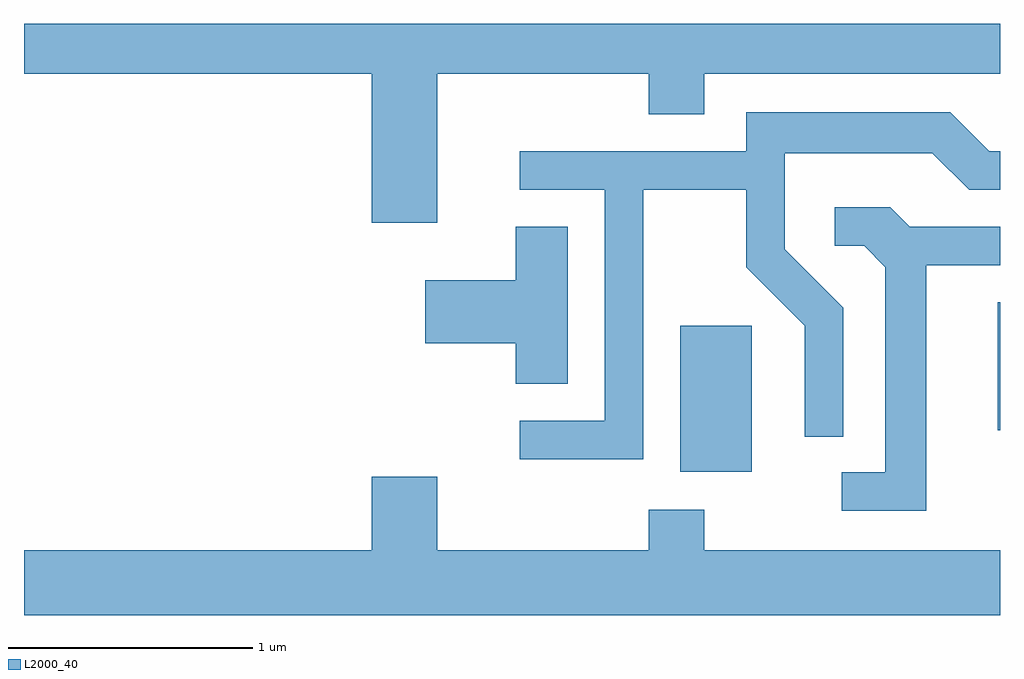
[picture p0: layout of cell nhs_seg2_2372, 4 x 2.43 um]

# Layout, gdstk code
import gdstk
lib = gdstk.Library(unit=1e-6, precision=1e-09)
def R(c, l, rs):  # rectangles x0, y0, x1, y1
    for r in rs: c.add(gdstk.rectangle(r[:2], r[2:], *l))
def P(c, l, *ps):  # polygons
    for p in ps: c.add(gdstk.Polygon(p, *l))
L2000_40 = (2000, 40)

nhs_seg2_2372 = lib.new_cell('nhs_seg2_2372')
R(nhs_seg2_2372, L2000_40, [(256.301,1099.966,256.594,1100.564), (257.601,1100.136,257.611,1100.659)])
P(nhs_seg2_2372, L2000_40, [(255.304,1101.596),(256.171,1101.596),(256.171,1101.431),(256.399,1101.431),(256.399,1101.596),(257.611,1101.596),(257.611,1101.802),(253.611,1101.802),(253.611,1101.596),(255.036,1101.596),(255.036,1100.986),(255.304,1100.986)],
  [(256.149,1101.121),(256.571,1101.121),(256.571,1100.804),(256.811,1100.564),(256.811,1100.108),(256.969,1100.108),(256.969,1100.637),(256.729,1100.877),(256.729,1101.271),(257.334,1101.271),(257.484,1101.121),(257.611,1101.121),(257.611,1101.279),(257.567,1101.279),(257.407,1101.439),(256.571,1101.439),(256.571,1101.279),(255.643,1101.279),(255.643,1101.121),(255.991,1101.121),(255.991,1100.174),(255.643,1100.174),(255.643,1100.016),(256.149,1100.016)],
  [(257.309,1100.811),(257.611,1100.811),(257.611,1100.969),(257.242,1100.969),(257.162,1101.049),(256.933,1101.049),(256.933,1100.891),(257.054,1100.891),(257.141,1100.804),(257.141,1099.964),(256.962,1099.964),(256.962,1099.806),(257.309,1099.806)],
  [(255.839,1100.969),(255.626,1100.969),(255.626,1100.749),(255.256,1100.749),(255.256,1100.491),(255.626,1100.491),(255.626,1100.326),(255.839,1100.326)],
  [(257.611,1099.644),(256.399,1099.644),(256.399,1099.809),(256.171,1099.809),(256.171,1099.644),(255.304,1099.644),(255.304,1099.944),(255.036,1099.944),(255.036,1099.644),(253.611,1099.644),(253.611,1099.376),(257.611,1099.376)])

lib.write_gds('nhs_seg2_2372.gds')
